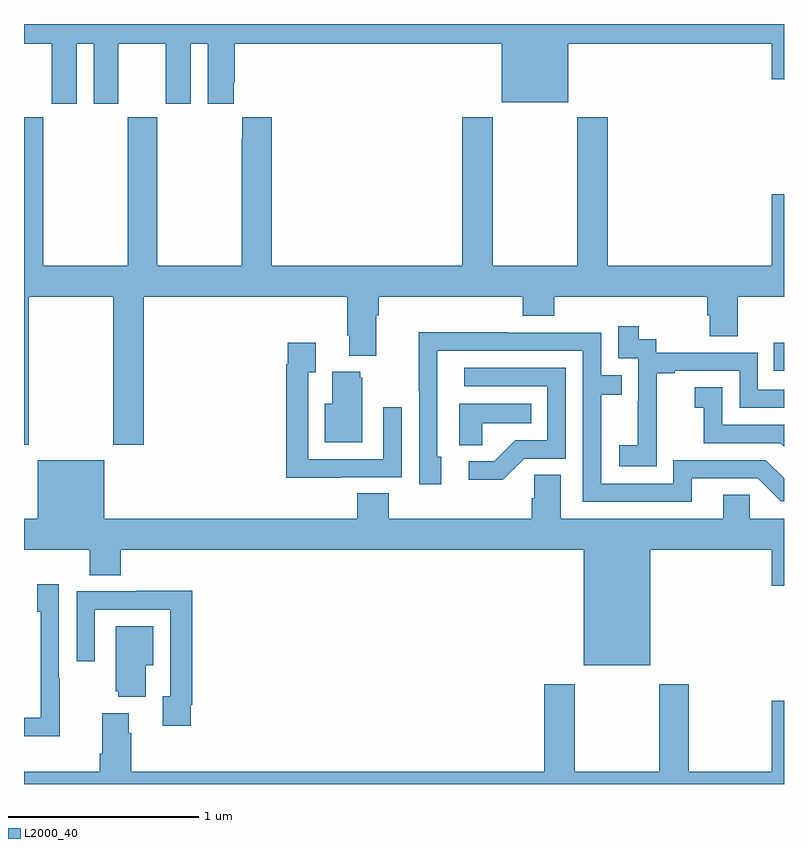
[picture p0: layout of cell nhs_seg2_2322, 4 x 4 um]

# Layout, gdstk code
import gdstk
lib = gdstk.Library(unit=1e-6, precision=1e-09)
def R(c, l, rs):  # rectangles x0, y0, x1, y1
    for r in rs: c.add(gdstk.rectangle(r[:2], r[2:], *l))
def P(c, l, *ps):  # polygons
    for p in ps: c.add(gdstk.Polygon(p, *l))
L2000_40 = (2000, 40)

nhs_seg2_2322 = lib.new_cell('nhs_seg2_2322')
R(nhs_seg2_2322, L2000_40, [(236.947,585.975,237,586.123)])
P(nhs_seg2_2322, L2000_40, [(233.278,587.696),(233.366,587.696),(233.366,587.379),(233.497,587.379),(233.497,587.696),(233.747,587.696),(233.747,587.379),(233.878,587.379),(233.878,587.696),(233.966,587.696),(233.966,587.379),(234.103,587.379),(234.103,587.491),(234.11,587.491),(234.11,587.696),(235.514,587.696),(235.514,587.387),(235.864,587.387),(235.864,587.696),(236.936,587.696),(236.936,587.508),(237,587.508),(237,587.8),(233,587.8),(233,587.696),(233.147,587.696),(233.147,587.379),(233.278,587.379)],
  [(233.025,586.364),(233.47,586.364),(233.47,585.585),(233.63,585.585),(233.63,586.364),(234.701,586.364),(234.701,586.162),(234.713,586.162),(234.713,586.055),(234.853,586.055),(234.853,586.268),(234.866,586.268),(234.866,586.364),(235.625,586.364),(235.625,586.265),(235.79,586.265),(235.79,586.364),(236.597,586.364),(236.597,586.266),(236.609,586.266),(236.609,586.156),(236.757,586.156),(236.757,586.364),(237,586.364),(237,586.903),(236.936,586.903),(236.936,586.528),(236.072,586.528),(236.072,587.308),(235.912,587.308),(235.912,586.528),(235.467,586.528),(235.467,587.308),(235.307,587.308),(235.307,586.528),(234.305,586.528),(234.305,587.308),(234.149,587.308),(234.149,587.195),(234.145,587.195),(234.145,586.528),(233.7,586.528),(233.7,587.308),(233.545,587.308),(233.545,586.528),(233.1,586.528),(233.1,587.308),(233,587.308),(233,585.585),(233.025,585.585)],
  [(236.331,585.679),(236.33,585.679),(236.33,585.963),(236.425,585.963),(236.425,585.975),(236.766,585.975),(236.766,585.78),(237,585.78),(237,585.876),(236.862,585.876),(236.862,586.071),(236.328,586.071),(236.328,586.14),(236.236,586.14),(236.236,586.21),(236.127,586.21),(236.127,586.041),(236.232,586.041),(236.232,585.812),(236.231,585.812),(236.231,585.583),(236.133,585.583),(236.133,585.473),(236.331,585.473)],
  [(236.515,585.408),(236.862,585.408),(236.982,585.288),(237,585.288),(237,585.408),(236.904,585.504),(236.418,585.504),(236.418,585.381),(236.037,585.381),(236.037,585.85),(236.147,585.85),(236.147,585.951),(236.037,585.951),(236.037,586.176),(235.541,586.176),(235.541,586.178),(235.078,586.178),(235.078,585.871),(235.08,585.871),(235.08,585.378),(235.195,585.378),(235.195,585.522),(235.176,585.522),(235.176,586.08),(235.941,586.08),(235.941,585.285),(236.515,585.285)],
  [(234.671,585.414),(234.987,585.414),(234.987,585.784),(234.891,585.784),(234.891,585.51),(234.495,585.51),(234.495,585.967),(234.535,585.967),(234.535,586.123),(234.387,586.123),(234.387,586.01),(234.379,586.01),(234.379,585.413),(234.671,585.413)],
  [(235.632,585.513),(235.851,585.513),(235.851,585.99),(235.317,585.99),(235.317,585.894),(235.755,585.894),(235.755,585.609),(235.586,585.609),(235.475,585.498),(235.341,585.498),(235.341,585.401),(235.519,585.401)],
  [(234.781,585.939),(234.77,585.939),(234.77,585.97),(234.623,585.97),(234.623,585.802),(234.584,585.802),(234.584,585.599),(234.781,585.599)],
  [(237,585.69),(236.676,585.69),(236.676,585.889),(236.529,585.889),(236.529,585.779),(236.578,585.779),(236.578,585.594),(236.981,585.594),(237,585.575)],
  [(235.413,585.698),(235.67,585.698),(235.67,585.802),(235.292,585.802),(235.292,585.583),(235.413,585.583)],
  [(235.825,585.428),(235.686,585.428),(235.686,585.305),(235.673,585.305),(235.673,585.196),(234.92,585.196),(234.92,585.329),(234.755,585.329),(234.755,585.196),(233.422,585.196),(233.422,585.505),(233.072,585.505),(233.072,585.196),(233,585.196),(233,585.032),(233.345,585.032),(233.345,584.899),(233.51,584.899),(233.51,585.032),(235.946,585.032),(235.946,584.426),(236.296,584.426),(236.296,585.032),(236.936,585.032),(236.936,584.844),(237,584.844),(237,585.196),(236.82,585.196),(236.82,585.323),(236.681,585.323),(236.681,585.196),(235.825,585.196)],
  [(233.187,584.357),(233.184,584.357),(233.184,584.851),(233.069,584.851),(233.069,584.706),(233.088,584.706),(233.088,584.148),(233,584.148),(233,584.051),(233.187,584.051)],
  [(233.878,584.218),(233.885,584.218),(233.885,584.816),(233.593,584.816),(233.593,584.814),(233.277,584.814),(233.277,584.445),(233.373,584.445),(233.373,584.718),(233.769,584.718),(233.769,584.262),(233.729,584.262),(233.729,584.106),(233.878,584.106)],
  [(233.641,584.426),(233.68,584.426),(233.68,584.629),(233.483,584.629),(233.483,584.289),(233.495,584.289),(233.495,584.258),(233.641,584.258)],
  [(237,584.239),(236.936,584.239),(236.936,583.864),(236.499,583.864),(236.499,584.326),(236.344,584.326),(236.344,583.864),(235.899,583.864),(235.899,584.326),(235.739,584.326),(235.739,583.864),(233.564,583.864),(233.564,584.066),(233.551,584.066),(233.551,584.173),(233.411,584.173),(233.411,583.96),(233.399,583.96),(233.399,583.864),(233,583.864),(233,583.8),(237,583.8)])

lib.write_gds('nhs_seg2_2322.gds')
